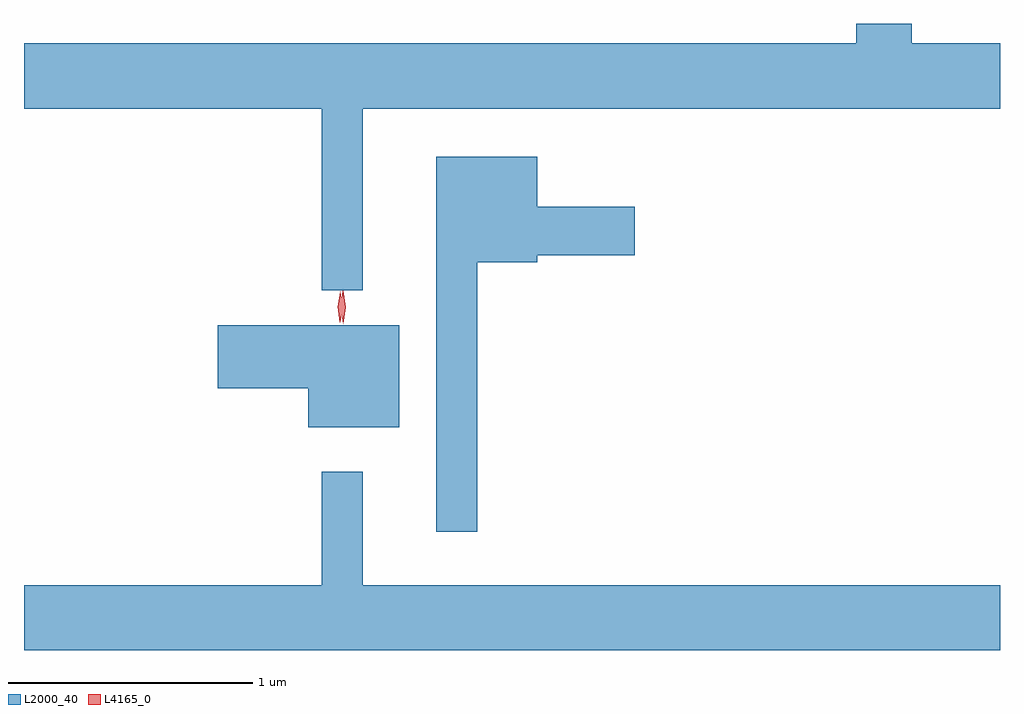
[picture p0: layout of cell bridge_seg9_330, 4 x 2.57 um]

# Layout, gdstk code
import gdstk
lib = gdstk.Library(unit=1e-6, precision=1e-09)
def P(c, l, *ps):  # polygons
    for p in ps: c.add(gdstk.Polygon(p, *l))
L2000_40 = (2000, 40)
L4165_0 = (4165, 0)

bridge_seg9_330 = lib.new_cell('bridge_seg9_330')
P(bridge_seg9_330, L2000_40, [(744.619,2020.676),(747.231,2020.676),(747.231,2020.944),(746.869,2020.944),(746.869,2021.025),(746.641,2021.025),(746.641,2020.944),(743.231,2020.944),(743.231,2020.676),(744.451,2020.676),(744.451,2019.933),(744.619,2019.933)],
  [(745.089,2020.046),(745.334,2020.046),(745.334,2020.076),(745.734,2020.076),(745.734,2020.274),(745.334,2020.274),(745.334,2020.479),(744.921,2020.479),(744.921,2018.943),(745.089,2018.943)],
  [(744.769,2019.789),(744.026,2019.789),(744.026,2019.531),(744.396,2019.531),(744.396,2019.371),(744.769,2019.371)],
  [(747.231,2018.724),(744.619,2018.724),(744.619,2019.188),(744.451,2019.188),(744.451,2018.724),(743.231,2018.724),(743.231,2018.456),(747.231,2018.456)])
P(bridge_seg9_330, L4165_0, [(744.539,2019.794),(744.539,2019.794),(744.529,2019.862),(744.538,2019.93),(744.538,2019.93),(744.539,2019.93),(744.549,2019.862),(744.54,2019.794)],
  [(744.526,2019.8),(744.526,2019.801),(744.517,2019.864),(744.528,2019.926),(744.528,2019.927),(744.528,2019.926),(744.537,2019.863),(744.527,2019.801)])

lib.write_gds('bridge_seg9_330.gds')
